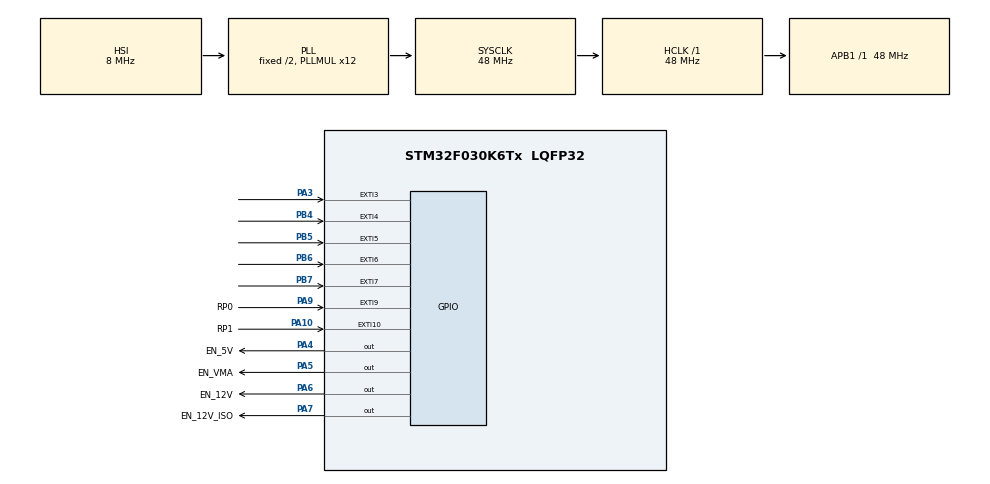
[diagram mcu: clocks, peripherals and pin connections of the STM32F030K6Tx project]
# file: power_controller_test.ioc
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Mcu.Family=STM32F0
Mcu.Name=STM32F030K6Tx
Mcu.Package=LQFP32
NVIC.EXTI2_3_IRQn=true\:0\:0\:false\:false\:true\:true\:true\:true
NVIC.EXTI4_15_IRQn=true\:0\:0\:false\:false\:true\:true\:true\:true
PA10.GPIO_Label=RP1
PA10.Signal=GPXTI10
PA13.Mode=Serial_Wire
PA13.Signal=SYS_SWDIO
PA14.Mode=Serial_Wire
PA14.Signal=SYS_SWCLK
PA3.GPIO_ModeDefaultEXTI=GPIO_MODE_IT_FALLING
PA3.Signal=GPXTI3
PA4.GPIO_Label=EN_5V
PA4.Signal=GPIO_Output
PA5.GPIO_Label=EN_VMA
PA5.Signal=GPIO_Output
PA6.GPIO_Label=EN_12V
PA6.Signal=GPIO_Output
PA7.GPIO_Label=EN_12V_ISO
PA7.Signal=GPIO_Output
PA9.GPIO_Label=RP0
PA9.Signal=GPXTI9
PB4.Signal=GPXTI4
PB5.Signal=GPXTI5
PB6.Signal=GPXTI6
PB7.Signal=GPXTI7
PF0-OSC_IN.Mode=HSE-External-Oscillator
PF0-OSC_IN.Signal=RCC_OSC_IN
PF1-OSC_OUT.Mode=HSE-External-Oscillator
PF1-OSC_OUT.Signal=RCC_OSC_OUT
ProjectManager.HeapSize=0x200
ProjectManager.StackSize=0x400
ProjectManager.TargetToolchain=MDK-ARM V5.32
RCC.AHBFreq_Value=48000000
RCC.APB1Freq_Value=48000000
RCC.APB1TimFreq_Value=48000000
RCC.HCLKFreq_Value=48000000
RCC.PLLMUL=RCC_PLL_MUL12
RCC.SYSCLKFreq_VALUE=48000000
RCC.SYSCLKSource=RCC_SYSCLKSOURCE_PLLCLK
board=custom

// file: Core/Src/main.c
/* USER CODE BEGIN Header */
/**
  ******************************************************************************
  * @file           : main.c
  * @brief          : Main program body
  ******************************************************************************
  * @attention
  *
  * Copyright (c) 2023 STMicroelectronics.
  * All rights reserved.
  *
  * This software is licensed under terms that can be found in the LICENSE file
  * in the root directory of this software component.
  * If no LICENSE file comes with this software, it is provided AS-IS.
  *
  ******************************************************************************
  */
/* USER CODE END Header */
#include "main.h"

/* USER CODE BEGIN Includes */
#include <stdbool.h>
/* USER CODE END Includes */

/* USER CODE BEGIN PM */
typedef enum
{
	PowerMashineState_OFF,
	PowerMashineState_BoatComputerON,
	PowerMashineState_UWaveON
} PowerMashineState;

typedef enum
{
	MotorMashineState_OFF,
	MotorMashineState_ON,
	MotorMashineState_BLOCKED
} MotorMashineState;

typedef enum
{
	Button_A,
	Button_B,
	Button_C,
	Button_D,
	Button_TOP,
	Button_EMPTY
} ButtonName;
/* USER CODE END PM */

/* USER CODE BEGIN PV */
PowerMashineState power_state = PowerMashineState_OFF;
MotorMashineState motor_state = MotorMashineState_BLOCKED;
uint8_t state_changed = 1;
ButtonName button = Button_EMPTY;

bool button_flag = false;
volatile bool button_A = false;
volatile bool button_B = false;
volatile bool button_C = false;
volatile bool button_D = false;
/* USER CODE END PV */

void SystemClock_Config(void);
static void MX_GPIO_Init(void);

int main(void)
{

  /* MCU Configuration--------------------------------------------------------*/

  /* Reset of all peripherals, Initializes the Flash interface and the Systick. */
  HAL_Init();

  /* Configure the system clock */
  SystemClock_Config();

  /* Initialize all configured peripherals */
  MX_GPIO_Init();

  /* Infinite loop */
  while (1)
  {

    /* USER CODE BEGIN 3 */
		if(state_changed) //Async control
		{
			switch(motor_state) //Motor State Mashine next state
			{
				case MotorMashineState_ON:
				case MotorMashineState_OFF:
					switch(button)
					{
						case Button_TOP:
						case Button_C:
						case Button_D:
							motor_state = MotorMashineState_BLOCKED;
							break;
						default:
							break;
					}
					break;
				case MotorMashineState_BLOCKED:
					switch(button)
					{
						case Button_TOP:
						case Button_C:
							motor_state = MotorMashineState_OFF;
							break;
						default:
							break;
					}
					break;
			}

			// Power state mashine next state
			switch(button)
			{
				case Button_TOP:
				case Button_C:
					if(power_state == PowerMashineState_OFF)
						power_state = PowerMashineState_BoatComputerON;
					break;
				case Button_A:
					power_state = PowerMashineState_BoatComputerON;
					break;
				case Button_B:
					power_state = PowerMashineState_UWaveON;
					break;
				case Button_D:
					power_state = PowerMashineState_OFF;
					break;
				default:
					break;
			}
			state_changed = 0;
			button = Button_EMPTY;
		}
		else // Sync control (Raspberry Pi)
		{
			switch(motor_state)
			{
				case MotorMashineState_ON:
					if((HAL_GPIO_ReadPin(GPIOA,RP0_Pin)!=GPIO_PIN_SET) || (HAL_GPIO_ReadPin(GPIOA,RP1_Pin)!=GPIO_PIN_RESET))
						motor_state = MotorMashineState_OFF;
					break;
				case MotorMashineState_OFF:
					if((HAL_GPIO_ReadPin(GPIOA,RP0_Pin)==GPIO_PIN_SET) && (HAL_GPIO_ReadPin(GPIOA,RP1_Pin)==GPIO_PIN_RESET))
						motor_state = MotorMashineState_ON;
					break;
				case MotorMashineState_BLOCKED:
					break;
			}
		}
		// Power state mashine out
		switch(power_state)
		{
			case PowerMashineState_OFF:
				HAL_GPIO_WritePin(GPIOA,EN_5V_Pin, GPIO_PIN_RESET);
				HAL_GPIO_WritePin(GPIOA,EN_12V_Pin, GPIO_PIN_RESET);
				HAL_GPIO_WritePin(GPIOA,EN_12V_ISO_Pin, GPIO_PIN_RESET);
				break;
			case PowerMashineState_BoatComputerON:
				HAL_GPIO_WritePin(GPIOA,EN_5V_Pin, GPIO_PIN_SET);
				HAL_GPIO_WritePin(GPIOA,EN_12V_Pin, GPIO_PIN_RESET);
				HAL_GPIO_WritePin(GPIOA,EN_12V_ISO_Pin, GPIO_PIN_RESET);
				break;
			case PowerMashineState_UWaveON:
				HAL_GPIO_WritePin(GPIOA,EN_5V_Pin, GPIO_PIN_SET);
				HAL_GPIO_WritePin(GPIOA,EN_12V_Pin, GPIO_PIN_SET);
				HAL_GPIO_WritePin(GPIOA,EN_12V_ISO_Pin, GPIO_PIN_SET);
				break;
		}
		// Motor state mashine out
		switch(motor_state)
		{
			case MotorMashineState_ON:
				HAL_GPIO_WritePin(GPIOA,EN_VMA_Pin, GPIO_PIN_SET);
				break;
			case MotorMashineState_OFF:
				HAL_GPIO_WritePin(GPIOA,EN_VMA_Pin, GPIO_PIN_RESET);
				break;
			case MotorMashineState_BLOCKED:
				HAL_GPIO_WritePin(GPIOA,EN_VMA_Pin, GPIO_PIN_RESET);
				break;
		}
	}
  /* USER CODE END 3 */
}

void SystemClock_Config(void)
{
  RCC_OscInitTypeDef RCC_OscInitStruct = {0};
  RCC_ClkInitTypeDef RCC_ClkInitStruct = {0};

  /** Initializes the RCC Oscillators according to the specified parameters
  * in the RCC_OscInitTypeDef structure.
  */
  RCC_OscInitStruct.OscillatorType = RCC_OSCILLATORTYPE_HSI;
  RCC_OscInitStruct.HSIState = RCC_HSI_ON;
  RCC_OscInitStruct.HSICalibrationValue = RCC_HSICALIBRATION_DEFAULT;
  RCC_OscInitStruct.PLL.PLLState = RCC_PLL_ON;
  RCC_OscInitStruct.PLL.PLLSource = RCC_PLLSOURCE_HSI;
  RCC_OscInitStruct.PLL.PLLMUL = RCC_PLL_MUL12;
  RCC_OscInitStruct.PLL.PREDIV = RCC_PREDIV_DIV1;
  if (HAL_RCC_OscConfig(&RCC_OscInitStruct) != HAL_OK)
  {
    Error_Handler();
  }

  /** Initializes the CPU, AHB and APB buses clocks
  */
  RCC_ClkInitStruct.ClockType = RCC_CLOCKTYPE_HCLK|RCC_CLOCKTYPE_SYSCLK
                              |RCC_CLOCKTYPE_PCLK1;
  RCC_ClkInitStruct.SYSCLKSource = RCC_SYSCLKSOURCE_PLLCLK;
  RCC_ClkInitStruct.AHBCLKDivider = RCC_SYSCLK_DIV1;
  RCC_ClkInitStruct.APB1CLKDivider = RCC_HCLK_DIV1;

  if (HAL_RCC_ClockConfig(&RCC_ClkInitStruct, FLASH_LATENCY_1) != HAL_OK)
  {
    Error_Handler();
  }
}

static void MX_GPIO_Init(void)
{
  GPIO_InitTypeDef GPIO_InitStruct = {0};

  /* GPIO Ports Clock Enable */
  __HAL_RCC_GPIOF_CLK_ENABLE();
  __HAL_RCC_GPIOA_CLK_ENABLE();
  __HAL_RCC_GPIOB_CLK_ENABLE();

  /*Configure GPIO pin Output Level */
  HAL_GPIO_WritePin(GPIOA, EN_5V_Pin|EN_VMA_Pin|EN_12V_Pin|EN_12V_ISO_Pin, GPIO_PIN_RESET);

  /*Configure GPIO pin : PA3 */
  GPIO_InitStruct.Pin = GPIO_PIN_3;
  GPIO_InitStruct.Mode = GPIO_MODE_IT_FALLING;
  GPIO_InitStruct.Pull = GPIO_NOPULL;
  HAL_GPIO_Init(GPIOA, &GPIO_InitStruct);

  /*Configure GPIO pins : EN_5V_Pin EN_VMA_Pin EN_12V_Pin EN_12V_ISO_Pin */
  GPIO_InitStruct.Pin = EN_5V_Pin|EN_VMA_Pin|EN_12V_Pin|EN_12V_ISO_Pin;
  GPIO_InitStruct.Mode = GPIO_MODE_OUTPUT_PP;
  GPIO_InitStruct.Pull = GPIO_NOPULL;
  GPIO_InitStruct.Speed = GPIO_SPEED_FREQ_LOW;
  HAL_GPIO_Init(GPIOA, &GPIO_InitStruct);

  /*Configure GPIO pins : RP0_Pin RP1_Pin */
  GPIO_InitStruct.Pin = RP0_Pin|RP1_Pin;
  GPIO_InitStruct.Mode = GPIO_MODE_IT_RISING;
  GPIO_InitStruct.Pull = GPIO_NOPULL;
  HAL_GPIO_Init(GPIOA, &GPIO_InitStruct);

  /*Configure GPIO pins : PB4 PB5 PB6 PB7 */
  GPIO_InitStruct.Pin = GPIO_PIN_4|GPIO_PIN_5|GPIO_PIN_6|GPIO_PIN_7;
  GPIO_InitStruct.Mode = GPIO_MODE_IT_RISING;
  GPIO_InitStruct.Pull = GPIO_NOPULL;
  HAL_GPIO_Init(GPIOB, &GPIO_InitStruct);

  /* EXTI interrupt init*/
  HAL_NVIC_SetPriority(EXTI2_3_IRQn, 0, 0);
  HAL_NVIC_EnableIRQ(EXTI2_3_IRQn);

  HAL_NVIC_SetPriority(EXTI4_15_IRQn, 0, 0);
  HAL_NVIC_EnableIRQ(EXTI4_15_IRQn);

}

/* USER CODE BEGIN 4 */
void HAL_GPIO_EXTI_Callback(uint16_t GPIO_Pin)
{
	switch(GPIO_Pin)
	{
		case GPIO_PIN_4:
			button = Button_D;
			break;
		case GPIO_PIN_5:
			button = Button_C;
			break;
		case GPIO_PIN_6:
			button = Button_B;
			break;
		case GPIO_PIN_7:
			button = Button_A;
			break;
		case GPIO_PIN_3:
			button = Button_TOP;
			break;
		default:
			button = Button_EMPTY;
			break;
	}
	 state_changed = 1;
}
/* USER CODE END 4 */

void Error_Handler(void)
{
  __disable_irq();
  while (1)
  {
  }
}
